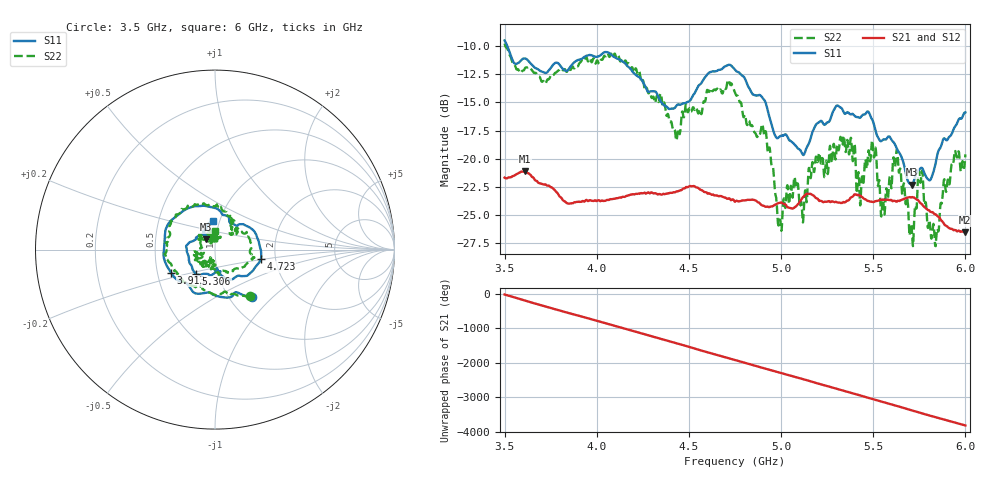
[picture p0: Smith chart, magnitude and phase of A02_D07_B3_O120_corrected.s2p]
! Created with skrf 1.9.0 (http://scikit-rf.org).
# Hz S RI R 50.0
!freq ReS11 ImS11 ReS21 ImS21 ReS12 ImS12 ReS22 ImS22
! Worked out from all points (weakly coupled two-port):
!   1601 points, 3.5 GHz to 6 GHz, reference 50 ohm
!   highest |S21| = -21.12 dB at 3.609 GHz (marker M1); lowest = -26.5 dB at 5.995 GHz (marker M2)
!   lowest |S11| = -22.3 dB at 5.709 GHz (marker M3), VSWR 1.17, Z = 44.9 + j5.21 ohm
!   |S11| at or under -10 dB: 3.515 GHz to end of sweep
!   |S22| runs from -27.8 to -9.8 dB; largest |S21 - S12| = 0.0011
!   S11 on the Smith chart (normalised r, x): 3.5 GHz: 1.28, -0.75; 3.913 GHz: 0.59, -0.16; 4.723 GHz: 1.67, -0.19; 5.306 GHz: 0.78, -0.22; 6 GHz: 0.93, +0.31
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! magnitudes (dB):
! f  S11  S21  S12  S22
! 3.5 GHz  -9.5  -21.7  -21.7  -9.8
! 3.609 GHz  -11.1  -21.1  -21.1  -12.0
! 3.913 GHz  -11.2  -23.8  -23.8  -11.4
! 3.917 GHz  -11.1  -23.8  -23.8  -11.3
! 4.334 GHz  -14.5  -23.2  -23.1  -15.0
! 4.439 GHz  -15.2  -22.9  -22.9  -17.6
! 4.723 GHz  -11.7  -23.6  -23.6  -13.4
! 4.75 GHz  -12.1  -23.8  -23.8  -14.1
! 4.908 GHz  -14.8  -24.2  -24.2  -17.9
! 4.992 GHz  -18.0  -23.9  -23.9  -25.4
! 5.167 GHz  -17.8  -23.2  -23.2  -20.6
! 5.306 GHz  -15.3  -23.9  -23.9  -18.8
! 5.422 GHz  -16.3  -23.2  -23.2  -21.5
! 5.503 GHz  -16.9  -23.8  -23.8  -19.9
! 5.584 GHz  -18.0  -23.7  -23.7  -22.6
! 5.636 GHz  -19.3  -23.7  -23.7  -20.6
! 5.709 GHz  -22.3  -23.4  -23.4  -26.3
! 5.755 GHz  -20.9  -23.9  -23.9  -22.0
! 5.844 GHz  -20.0  -25.0  -25.0  -26.6
! 5.936 GHz  -17.4  -26.4  -26.4  -20.3
! 5.995 GHz  -15.9  -26.5  -26.5  -20.6
! 6 GHz  -15.9  -26.5  -26.5  -19.6
